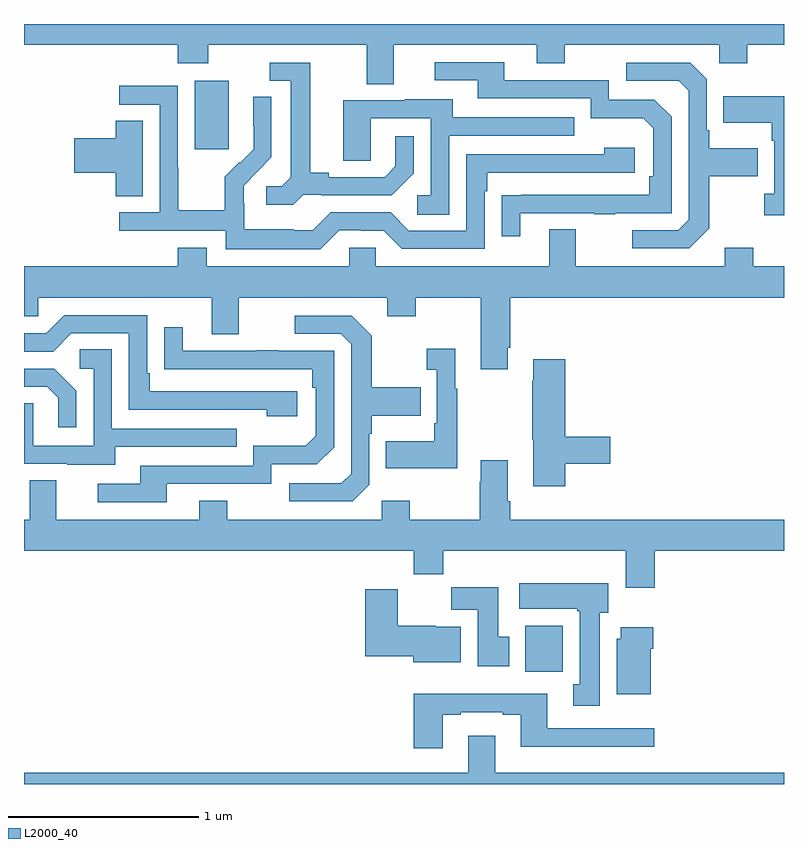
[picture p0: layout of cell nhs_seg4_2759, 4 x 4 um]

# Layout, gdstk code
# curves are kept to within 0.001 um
import gdstk
lib = gdstk.Library(unit=1e-6, precision=1e-09)
def R(c, l, rs):  # rectangles x0, y0, x1, y1
    for r in rs: c.add(gdstk.rectangle(r[:2], r[2:], *l))
def P(c, l, *ps):  # polygons
    for p in ps: c.add(gdstk.Polygon(p, *l))
L2000_40 = (2000, 40)

nhs_seg4_2759 = lib.new_cell('nhs_seg4_2759')
R(nhs_seg4_2759, L2000_40, [(257.639,821.492,257.836,821.734), (255.899,824.241,256.078,824.602)])
P(nhs_seg4_2759, L2000_40, [(256.945,824.792),(257.699,824.792),(257.699,824.693),(257.847,824.693),(257.847,824.792),(258.66,824.792),(258.66,824.693),(258.807,824.693),(258.807,824.792),(259,824.792),(259,824.9),(255,824.9),(255,824.792),(255.809,824.792),(255.809,824.693),(255.969,824.693),(255.969,824.792),(256.805,824.792),(256.805,824.584),(256.945,824.584)],
  [(257.611,823.905),(258.001,823.905),(258.001,823.9),(258.113,823.9),(258.113,823.905),(258.408,823.905),(258.408,824.412),(258.318,824.502),(258.078,824.502),(258.078,824.604),(257.527,824.604),(257.527,824.7),(257.163,824.7),(257.163,824.604),(257.387,824.604),(257.387,824.508),(257.982,824.508),(257.982,824.405),(258.259,824.405),(258.312,824.352),(258.312,824.098),(258.292,824.098),(258.292,824.001),(257.515,824),(257.515,823.782),(257.611,823.782)],
  [(256.47,824.001),(256.564,824.001),(256.564,823.998),(256.936,823.998),(257.052,824.114),(257.052,824.308),(256.955,824.308),(256.955,824.151),(256.898,824.094),(256.603,824.094),(256.603,824.117),(256.507,824.117),(256.507,824.697),(256.293,824.697),(256.293,824.601),(256.403,824.601),(256.403,824.093),(256.356,824.046),(256.275,824.046),(256.275,823.949),(256.418,823.949)],
  [(258.607,823.825),(258.607,824.098),(258.863,824.098),(258.863,824.245),(258.607,824.245),(258.607,824.341),(258.594,824.341),(258.594,824.61),(258.507,824.697),(258.171,824.697),(258.171,824.601),(258.447,824.601),(258.498,824.55),(258.498,823.869),(258.444,823.815),(258.201,823.815),(258.201,823.719),(258.501,823.719)],
  [(256.659,823.815),(256.775,823.815),(256.775,823.812),(256.893,823.812),(256.989,823.716),(257.424,823.716),(257.424,824.021),(257.437,824.021),(257.437,824.118),(258.214,824.118),(258.214,824.248),(258.053,824.248),(258.053,824.214),(257.328,824.214),(257.328,823.812),(257.025,823.812),(256.929,823.908),(256.614,823.908),(256.521,823.815),(256.421,823.815),(256.421,823.819),(256.158,823.819),(256.158,823.953),(256.156,823.953),(256.156,824.05),(256.302,824.198),(256.302,824.516),(256.206,824.516),(256.206,824.362),(256.208,824.362),(256.208,824.24),(256.137,824.169),(256.134,824.172),(256.057,824.095),(256.057,823.921),(255.813,823.921),(255.813,824.144),(255.81,824.144),(255.81,824.574),(255.501,824.574),(255.501,824.475),(255.714,824.475),(255.714,823.908),(255.501,823.908),(255.501,823.812),(256.062,823.812),(256.062,823.715),(256.559,823.715)],
  [(259,824.521),(258.679,824.521),(258.679,824.381),(258.936,824.381),(258.936,824.285),(258.948,824.285),(258.948,824.006),(258.897,824.006),(258.897,823.893),(259,823.893)],
  [(257.238,824.313),(257.897,824.313),(257.897,824.409),(257.257,824.409),(257.257,824.503),(257.003,824.503),(257.003,824.499),(256.679,824.499),(256.679,824.179),(256.824,824.179),(256.824,824.403),(257.142,824.403),(257.142,823.998),(257.07,823.998),(257.07,823.897),(257.238,823.897)],
  [(255.625,824.39),(255.482,824.39),(255.482,824.3),(255.264,824.3),(255.264,824.117),(255.482,824.117),(255.482,823.993),(255.625,823.993)],
  [(257.545,823.195),(257.558,823.195),(257.558,823.46),(259,823.46),(259,823.624),(258.837,823.624),(258.837,823.723),(258.689,823.723),(258.689,823.624),(257.905,823.624),(257.905,823.819),(257.765,823.819),(257.765,823.624),(256.851,823.624),(256.851,823.722),(256.713,823.722),(256.713,823.624),(255.961,823.624),(255.961,823.723),(255.809,823.723),(255.809,823.624),(255,823.624),(255,823.362),(255.075,823.362),(255.075,823.46),(255.989,823.46),(255.989,823.266),(256.129,823.266),(256.129,823.46),(256.913,823.46),(256.913,823.361),(257.061,823.361),(257.061,823.46),(257.405,823.46),(257.405,823.083),(257.545,823.083)],
  [(256.438,822.966),(255.661,822.966),(255.661,823.063),(255.648,823.063),(255.648,823.368),(255.213,823.368),(255.117,823.272),(255,823.272),(255,823.176),(255.153,823.176),(255.249,823.272),(255.552,823.272),(255.552,822.87),(256.277,822.87),(256.277,822.836),(256.438,822.836)],
  [(256.818,822.474),(256.818,822.743),(256.831,822.743),(256.831,822.839),(257.087,822.839),(257.087,822.987),(256.831,822.987),(256.831,823.259),(256.725,823.365),(256.425,823.365),(256.425,823.269),(256.668,823.269),(256.722,823.215),(256.722,822.534),(256.671,822.483),(256.395,822.483),(256.395,822.387),(256.731,822.387)],
  [(255.751,822.48),(256.302,822.48),(256.302,822.582),(256.542,822.582),(256.632,822.672),(256.632,823.179),(256.337,823.179),(256.337,823.184),(256.225,823.184),(256.225,823.179),(255.835,823.179),(255.835,823.303),(255.739,823.303),(255.739,823.084),(256.516,823.083),(256.516,822.986),(256.536,822.986),(256.536,822.732),(256.483,822.679),(256.206,822.679),(256.206,822.576),(255.611,822.576),(255.611,822.48),(255.387,822.48),(255.387,822.384),(255.751,822.384)],
  [(257.281,822.979),(257.269,822.979),(257.269,823.192),(257.121,823.192),(257.121,823.079),(257.172,823.079),(257.172,822.799),(257.16,822.799),(257.16,822.703),(256.903,822.703),(256.903,822.563),(257.281,822.563)],
  [(255.481,822.675),(256.121,822.675),(256.121,822.771),(255.462,822.771),(255.462,823.187),(255.294,823.187),(255.294,823.086),(255.366,823.086),(255.366,822.681),(255.048,822.681),(255.048,822.905),(255,822.905),(255,822.585),(255.227,822.585),(255.227,822.581),(255.481,822.581)],
  [(257.849,822.586),(258.085,822.586),(258.085,822.728),(257.849,822.728),(257.849,823.135),(257.681,823.135),(257.681,823.022),(257.674,823.022),(257.674,822.711),(257.681,822.711),(257.681,822.468),(257.849,822.468)],
  [(255.276,822.97),(255.16,823.086),(255,823.086),(255,822.99),(255.122,822.99),(255.179,822.933),(255.179,822.777),(255.276,822.777)],
  [(258.32,822.128),(259,822.128),(259,822.292),(257.558,822.292),(257.558,822.388),(257.545,822.388),(257.545,822.604),(257.405,822.604),(257.405,822.491),(257.398,822.491),(257.398,822.292),(257.031,822.292),(257.031,822.391),(256.884,822.391),(256.884,822.292),(256.071,822.292),(256.071,822.391),(255.923,822.391),(255.923,822.292),(255.169,822.292),(255.169,822.5),(255.029,822.5),(255.029,822.292),(255,822.292),(255,822.128),(257.051,822.128),(257.051,822.004),(257.207,822.004),(257.207,822.128),(258.167,822.128),(258.167,821.934),(258.32,821.934)],
  [(258.031,821.802),(258.076,821.802),(258.076,821.956),(257.607,821.956),(257.607,821.822),(257.911,821.822),(257.911,821.809),(257.924,821.809),(257.924,821.426),(257.891,821.426),(257.891,821.313),(258.031,821.313)],
  [(257.554,821.676),(257.497,821.676),(257.497,821.935),(257.248,821.935),(257.248,821.816),(257.387,821.816),(257.387,821.52),(257.554,821.52)],
  [(257.299,821.728),(257.166,821.728),(257.166,821.734),(256.966,821.734),(256.966,821.926),(256.796,821.926),(256.796,821.573),(257.048,821.573),(257.048,821.54),(257.299,821.54)],
  [(258.298,821.612),(258.311,821.612),(258.311,821.725),(258.14,821.725),(258.14,821.664),(258.119,821.664),(258.119,821.372),(258.298,821.372)],
  [(257.203,821.265),(257.299,821.265),(257.299,821.277),(257.519,821.277),(257.519,821.265),(257.615,821.265),(257.615,821.096),(258.316,821.096),(258.316,821.193),(257.755,821.193),(257.755,821.374),(257.051,821.374),(257.051,821.088),(257.203,821.088)],
  [(259,820.96),(257.479,820.96),(257.479,821.155),(257.339,821.155),(257.339,820.96),(255,820.96),(255,820.9),(259,820.9)])

lib.write_gds('nhs_seg4_2759.gds')
